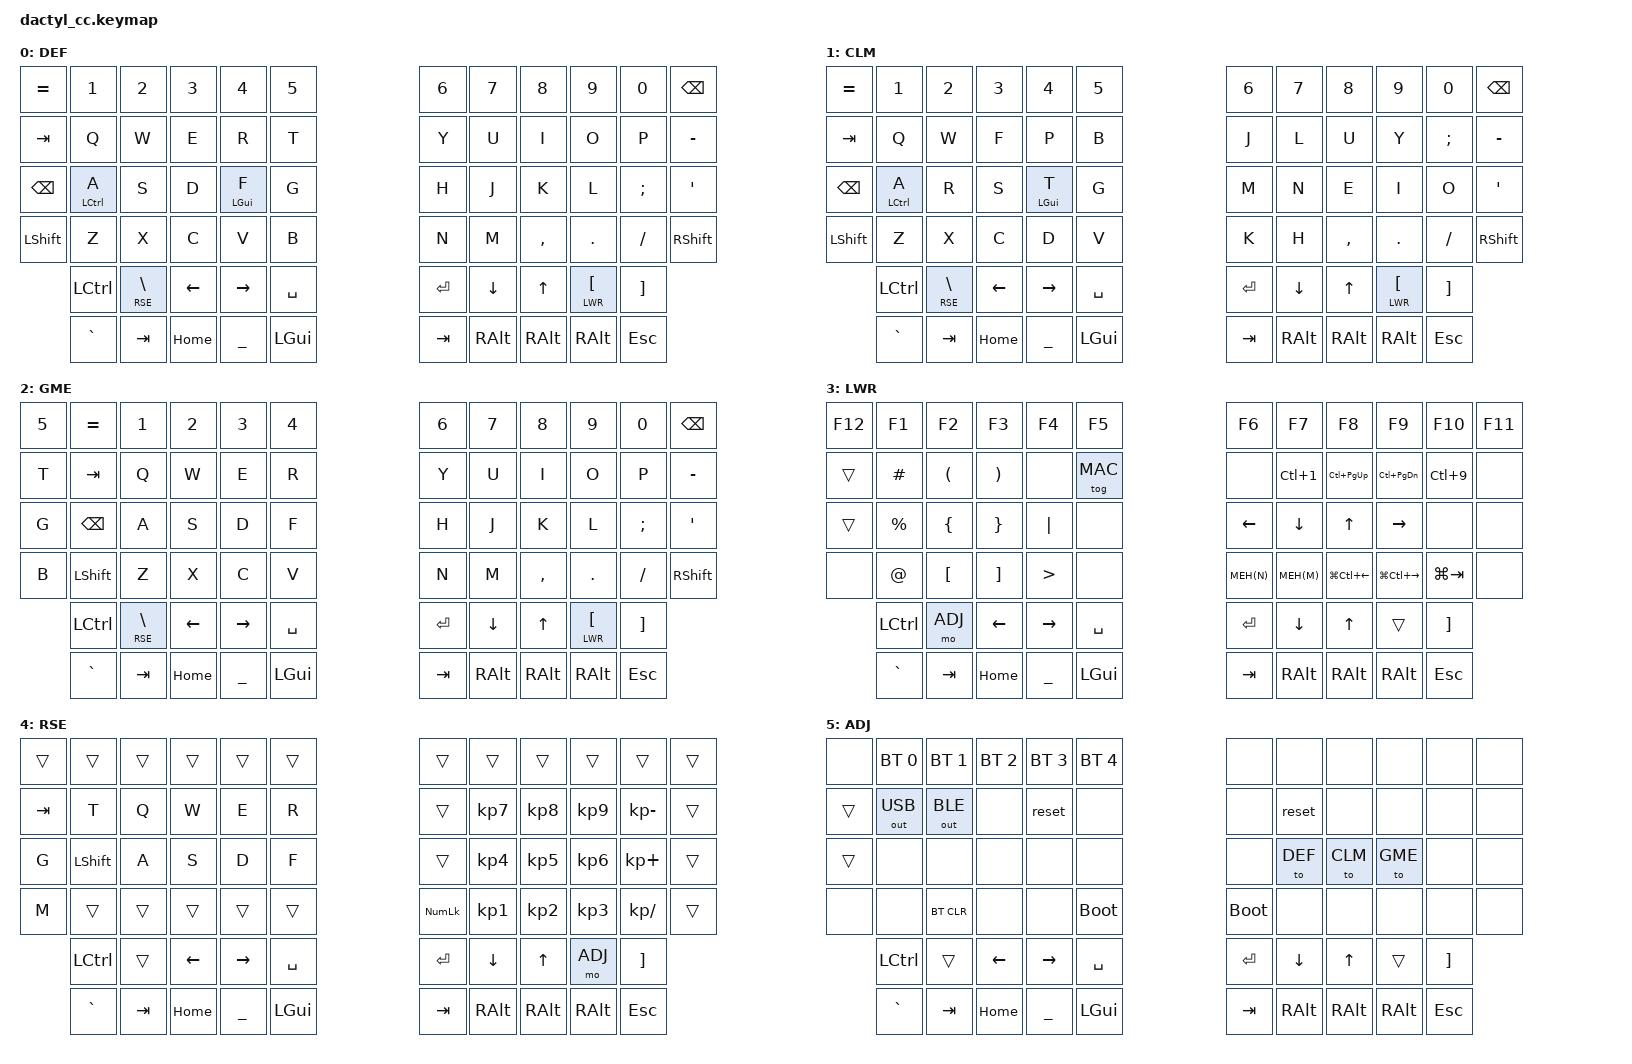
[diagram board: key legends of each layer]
#include <behaviors.dtsi>
#include <dt-bindings/zmk/keys.h>
#include <dt-bindings/zmk/bt.h>
#include <dt-bindings/zmk/outputs.h>

#define DEF 0
#define CLM 1
#define GME 2
#define LWR 3
#define RSE 4
#define ADJ 5

#define HYPER(key) LS(LC(LA(LG(key))))
#define MEH(key)   LS(LC(LA(key)))

&mt {
    flavor = "hold-preferred";
    tapping-term-ms = <150>;
};

&lt {
    flavor = "balanced";
    tapping-term-ms = <150>;
};

/ {
    behaviors {
        am: alpha_mods {
            compatible = "zmk,behavior-hold-tap";
            label = "ALPHA_MT";
            #binding-cells = <2>;
            tapping-term-ms = <250>;
            quick-tap-ms = <150>;
            flavor = "tap-preferred";
            bindings = <&kp>, <&kp>;
        };
    };

    keymap {
        compatible = "zmk,keymap";

        default_layer {
            label = "DEF";
            bindings = <
    &kp EQUAL &kp N1       &kp N2       &kp N3    &kp N4      &kp N5                             &kp N6    &kp N7    &kp N8    &kp N9        &kp N0   &kp BSPC
    &kp TAB   &kp Q        &kp W        &kp E     &kp R       &kp T                              &kp Y     &kp U     &kp I     &kp O         &kp P    &kp MINUS
    &kp BSPC  &am LCTRL A  &kp S        &kp D     &am LGUI F  &kp G                              &kp H     &kp J     &kp K     &kp L         &kp SEMI &kp SQT
    &kp LSHFT &kp Z        &kp X        &kp C     &kp V       &kp B                              &kp N     &kp M     &kp COMMA &kp DOT       &kp FSLH &kp RSHFT
              &kp LCTRL    &lt RSE BSLH &kp LEFT  &kp RIGHT   &kp SPACE                          &kp RET   &kp DOWN  &kp UP    &lt LWR LBKT  &kp RBKT
              &kp GRAVE    &kp TAB      &kp HOME  &kp UNDER   &kp LGUI                           &kp TAB   &kp RALT  &kp RALT  &kp RALT      &kp ESC
            >;
        };

        colemak_layer {
            label = "CLM";
            bindings = <
    &kp EQUAL &kp N1       &kp N2       &kp N3    &kp N4      &kp N5                             &kp N6    &kp N7    &kp N8    &kp N9        &kp N0   &kp BSPC
    &kp TAB   &kp Q        &kp W        &kp F     &kp P       &kp B                              &kp J     &kp L     &kp U     &kp Y         &kp SEMI &kp MINUS
    &kp BSPC  &am LCTRL A  &kp R        &kp S     &am LGUI T  &kp G                              &kp M     &kp N     &kp E     &kp I         &kp O    &kp SQT
    &kp LSHFT &kp Z        &kp X        &kp C     &kp D       &kp V                              &kp K     &kp H     &kp COMMA &kp DOT       &kp FSLH &kp RSHFT
              &kp LCTRL    &lt RSE BSLH &kp LEFT  &kp RIGHT   &kp SPACE                          &kp RET   &kp DOWN  &kp UP    &lt LWR LBKT  &kp RBKT
              &kp GRAVE    &kp TAB      &kp HOME  &kp UNDER   &kp LGUI                           &kp TAB   &kp RALT  &kp RALT  &kp RALT      &kp ESC
            >;
        };

        game_layer {
            label = "GME";
            bindings = <
    &kp N5  &kp EQUAL  &kp N1        &kp N2    &kp N3    &kp N4                             &kp N6    &kp N7    &kp N8    &kp N9        &kp N0   &kp BSPC
    &kp T   &kp TAB    &kp Q         &kp W     &kp E     &kp R                              &kp Y     &kp U     &kp I     &kp O         &kp P    &kp MINUS
    &kp G   &kp BSPC   &kp A         &kp S     &kp D     &kp F                              &kp H     &kp J     &kp K     &kp L         &kp SEMI &kp SQT
    &kp B   &kp LSHFT  &kp Z         &kp X     &kp C     &kp V                              &kp N     &kp M     &kp COMMA &kp DOT       &kp FSLH &kp RSHFT
            &kp LCTRL  &lt RSE BSLH  &kp LEFT  &kp RIGHT &kp SPACE                          &kp RET   &kp DOWN  &kp UP    &lt LWR LBKT  &kp RBKT
            &kp GRAVE  &kp TAB       &kp HOME  &kp UNDER &kp LGUI                           &kp TAB   &kp RALT  &kp RALT  &kp RALT      &kp ESC
            >;
        };

        lower_layer {
            label = "LWR";
            bindings = <
    &kp F12  &kp F1    &kp F2     &kp F3    &kp F4    &kp F5                             &kp F6     &kp F7     &kp F8           &kp F9            &kp F10     &kp F11
    &trans   &kp HASH  &kp LPAR   &kp RPAR  &none     &tog MAC                           &none      &kp LC(1)  &kp LC(PG_UP)    &kp LC(PG_DN)     &kp LC(9)   &none
    &trans   &kp PRCNT &kp LBRC   &kp RBRC  &kp PIPE  &none                              &kp LEFT   &kp DOWN   &kp UP           &kp RIGHT         &none       &none
    &none    &kp AT    &kp LBKT   &kp RBKT  &kp GT    &none                              &kp MEH(N) &kp MEH(M) &kp LG(LC(LEFT)) &kp LG(LC(RIGHT)) &kp LG(TAB) &none
             &kp LCTRL &mo ADJ    &kp LEFT  &kp RIGHT &kp SPACE                          &kp RET    &kp DOWN   &kp UP           &trans            &kp RBKT
             &kp GRAVE &kp TAB    &kp HOME  &kp UNDER &kp LGUI                           &kp TAB    &kp RALT   &kp RALT         &kp RALT          &kp ESC
            >;
        };

        raise_layer {
            label = "RSE";
            bindings = <
    &trans    &trans    &trans         &trans    &trans    &trans                             &trans      &trans       &trans    &trans  &trans       &trans
    &kp TAB   &kp T     &kp Q          &kp W     &kp E     &kp R                              &trans      &kp KP_N7 &kp KP_N8 &kp KP_N9  &kp KP_MINUS &trans
    &kp G     &kp LSHFT &kp A          &kp S     &kp D     &kp F                              &trans      &kp KP_N4 &kp KP_N5 &kp KP_N6  &kp KP_PLUS  &trans
    &kp M     &trans    &trans         &trans    &trans    &trans                             &kp KP_NLCK &kp KP_N1 &kp KP_N2 &kp KP_N3  &kp KP_SLASH &trans
              &kp LCTRL &trans         &kp LEFT  &kp RIGHT &kp SPACE                          &kp RET     &kp DOWN  &kp UP    &mo ADJ    &kp RBKT
              &kp GRAVE &kp TAB        &kp HOME  &kp UNDER &kp LGUI                           &kp TAB     &kp RALT  &kp RALT  &kp RALT   &kp ESC
            >;
        };

        adjust_layer {
            label = "ADJ";
            bindings = <
    &none     &bt BT_SEL 0 &bt BT_SEL 1   &bt BT_SEL 2 &bt BT_SEL 3 &bt BT_SEL 4              &none       &none     &none     &none           &none    &none
    &trans    &out OUT_USB &out OUT_BLE   &none        &reset       &none                     &none       &reset    &none     &none           &none    &none
    &trans    &none        &none          &none        &none        &none                     &none       &to DEF   &to CLM   &to GME         &none    &none
    &none     &none        &bt BT_CLR     &none        &none        &bootloader               &bootloader &none     &none     &none           &none    &none
              &kp LCTRL    &trans         &kp LEFT     &kp RIGHT    &kp SPACE                 &kp RET     &kp DOWN  &kp UP    &trans          &kp RBKT
              &kp GRAVE    &kp TAB        &kp HOME     &kp UNDER    &kp LGUI                  &kp TAB     &kp RALT  &kp RALT  &kp RALT        &kp ESC
            >;
        };
    };
};
